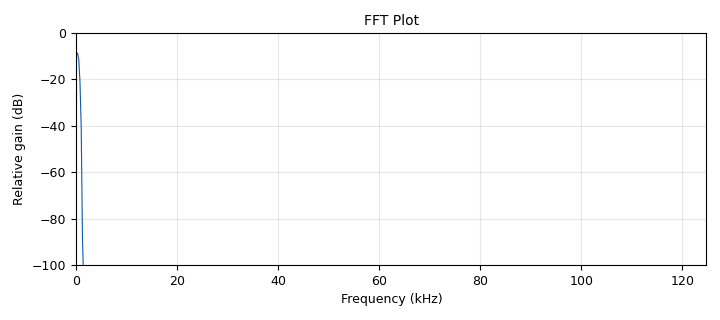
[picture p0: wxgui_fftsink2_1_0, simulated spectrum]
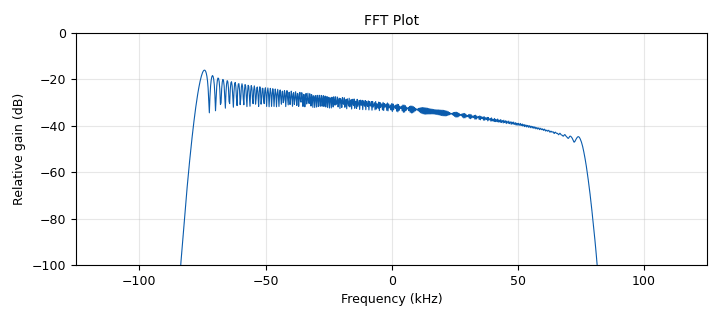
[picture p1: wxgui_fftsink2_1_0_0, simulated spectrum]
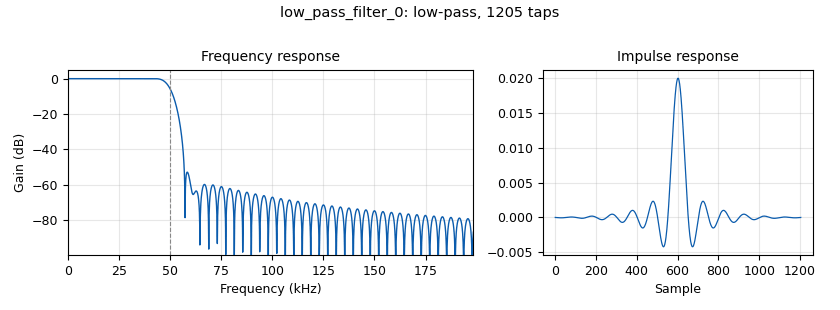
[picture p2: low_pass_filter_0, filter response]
<?xml version='1.0' encoding='utf-8'?>
<?grc format='1' created='3.7.9'?>
<flow_graph>
<block>
<key>options</key>
<param><key>id</key><value>FM_Example</value></param>
<param><key>generate_options</key><value>wx_gui</value></param>
</block>
<block>
<key>variable_text_box</key>
<param><key>id</key><value>RxGain</value></param>
<param><key>converver</key><value>float_converter</value></param>
<param><key>value</key><value>15</value></param>
<param><key>formatter</key><value>None</value></param>
<param><key>label</key><value></value></param>
</block>
<block>
<key>variable_slider</key>
<param><key>id</key><value>TxGain</value></param>
<param><key>converver</key><value>float_converter</value></param>
<param><key>value</key><value>0</value></param>
<param><key>label</key><value></value></param>
<param><key>max</key><value>80</value></param>
<param><key>min</key><value>0</value></param>
<param><key>num_steps</key><value>8</value></param>
<param><key>style</key><value>wx.SL_HORIZONTAL</value></param>
</block>
<block>
<key>variable_text_box</key>
<param><key>id</key><value>TxGain</value></param>
<param><key>converver</key><value>float_converter</value></param>
<param><key>value</key><value>1</value></param>
<param><key>_enabled</key><value>0</value></param>
<param><key>formatter</key><value>None</value></param>
<param><key>label</key><value></value></param>
</block>
<block>
<key>variable_text_box</key>
<param><key>id</key><value>freq</value></param>
<param><key>converver</key><value>float_converter</value></param>
<param><key>value</key><value>97.3e6</value></param>
<param><key>formatter</key><value>None</value></param>
<param><key>label</key><value></value></param>
</block>
<block>
<key>variable</key>
<param><key>id</key><value>samp_rate</value></param>
<param><key>value</key><value>5e6</value></param>
</block>
<block>
<key>analog_nbfm_rx</key>
<param><key>id</key><value>analog_nbfm_rx_0</value></param>
<param><key>audio_rate</key><value>250000</value></param>
<param><key>_enabled</key><value>0</value></param>
<param><key>max_dev</key><value>5e3</value></param>
<param><key>quad_rate</key><value>250000</value></param>
<param><key>tau</key><value>75e-6</value></param>
</block>
<block>
<key>analog_sig_source_x</key>
<param><key>id</key><value>analog_sig_source</value></param>
<param><key>amp</key><value>1</value></param>
<param><key>freq</key><value>279</value></param>
<param><key>offset</key><value>0</value></param>
<param><key>type</key><value>float</value></param>
<param><key>samp_rate</key><value>5e6</value></param>
<param><key>waveform</key><value>analog.GR_SIN_WAVE</value></param>
</block>
<block>
<key>analog_wfm_rcv</key>
<param><key>id</key><value>analog_wfm_rcv_0</value></param>
<param><key>audio_decimation</key><value>1</value></param>
<param><key>quad_rate</key><value>250e3</value></param>
</block>
<block>
<key>analog_wfm_tx</key>
<param><key>id</key><value>analog_wfm_tx_1</value></param>
<param><key>audio_rate</key><value>250000</value></param>
<param><key>max_dev</key><value>75e3</value></param>
<param><key>quad_rate</key><value>250000</value></param>
<param><key>tau</key><value>75e-6</value></param>
</block>
<block>
<key>audio_sink</key>
<param><key>id</key><value>audio_sink_0</value></param>
<param><key>samp_rate</key><value>96000</value></param>
</block>
<block>
<key>blocks_multiply_const_vxx</key>
<param><key>id</key><value>blocks_multiply_const_vxx_0_0</value></param>
<param><key>const</key><value>1</value></param>
<param><key>type</key><value>float</value></param>
</block>
<block>
<key>blocks_multiply_const_vxx</key>
<param><key>id</key><value>blocks_multiply_const_vxx_1_0</value></param>
<param><key>const</key><value>1</value></param>
<param><key>type</key><value>complex</value></param>
</block>
<block>
<key>low_pass_filter</key>
<param><key>id</key><value>low_pass_filter_0</value></param>
<param><key>cutoff_freq</key><value>50e3</value></param>
<param><key>decim</key><value>20</value></param>
<param><key>type</key><value>fir_filter_ccf</value></param>
<param><key>gain</key><value>1</value></param>
<param><key>samp_rate</key><value>samp_rate</value></param>
<param><key>width</key><value>10e3</value></param>
<param><key>win</key><value>firdes.WIN_HAMMING</value></param>
</block>
<block>
<key>notebook</key>
<param><key>id</key><value>notebook_0</value></param>
<param><key>labels</key><value>['tab1', 'tab2', 'tab3','tab4']</value></param>
<param><key>style</key><value>wx.NB_TOP</value></param>
</block>
<block>
<key>rational_resampler_xxx</key>
<param><key>id</key><value>rational_resampler_xxx_0</value></param>
<param><key>decim</key><value>250</value></param>
<param><key>interp</key><value>96</value></param>
<param><key>taps</key><value></value></param>
<param><key>type</key><value>fff</value></param>
</block>
<block>
<key>rational_resampler_xxx</key>
<param><key>id</key><value>rational_resampler_xxx_1_0</value></param>
<param><key>decim</key><value>20</value></param>
<param><key>interp</key><value>1</value></param>
<param><key>taps</key><value></value></param>
<param><key>type</key><value>fff</value></param>
</block>
<block>
<key>uhd_usrp_sink</key>
<param><key>id</key><value>uhd_usrp_sink_0_0</value></param>
<param><key>ant0</key><value>TX/RX</value></param>
<param><key>center_freq0</key><value>freq</value></param>
<param><key>norm_gain0</key><value>False</value></param>
<param><key>gain0</key><value>TxGain</value></param>
<param><key>clock_rate</key><value>0.0</value></param>
<param><key>dev_args</key><value>""</value></param>
<param><key>type</key><value>fc32</value></param>
<param><key>samp_rate</key><value>250e3</value></param>
<param><key>hide_cmd_port</key><value>False</value></param>
<param><key>sync</key><value></value></param>
<param><key>len_tag_name</key><value></value></param>
</block>
<block>
<key>uhd_usrp_source</key>
<param><key>id</key><value>uhd_usrp_source_0</value></param>
<param><key>ant0</key><value>RX2</value></param>
<param><key>bw0</key><value>300e3</value></param>
<param><key>center_freq0</key><value>freq</value></param>
<param><key>dc_offs_enb0</key><value>""</value></param>
<param><key>iq_imbal_enb0</key><value>""</value></param>
<param><key>norm_gain0</key><value>False</value></param>
<param><key>gain0</key><value>RxGain</value></param>
<param><key>clock_rate</key><value>0.0</value></param>
<param><key>dev_addr</key><value></value></param>
<param><key>dev_args</key><value>""</value></param>
<param><key>type</key><value>fc32</value></param>
<param><key>samp_rate</key><value>samp_rate</value></param>
<param><key>hide_cmd_port</key><value>False</value></param>
<param><key>sync</key><value></value></param>
</block>
<block>
<key>wxgui_fftsink2</key>
<param><key>id</key><value>wxgui_fftsink2_0</value></param>
<param><key>avg_alpha</key><value>0</value></param>
<param><key>average</key><value>False</value></param>
<param><key>baseband_freq</key><value>freq</value></param>
<param><key>fft_size</key><value>1024</value></param>
<param><key>freqvar</key><value>None</value></param>
<param><key>notebook</key><value>notebook_0,0</value></param>
<param><key>peak_hold</key><value>False</value></param>
<param><key>ref_level</key><value>0</value></param>
<param><key>ref_scale</key><value>2.0</value></param>
<param><key>fft_rate</key><value>15</value></param>
<param><key>samp_rate</key><value>samp_rate</value></param>
<param><key>title</key><value>FFT Plot</value></param>
<param><key>type</key><value>complex</value></param>
<param><key>win</key><value>None</value></param>
<param><key>y_divs</key><value>10</value></param>
<param><key>y_per_div</key><value>10</value></param>
</block>
<block>
<key>wxgui_fftsink2</key>
<param><key>id</key><value>wxgui_fftsink2_1</value></param>
<param><key>avg_alpha</key><value>0</value></param>
<param><key>average</key><value>False</value></param>
<param><key>baseband_freq</key><value>0</value></param>
<param><key>fft_size</key><value>1024</value></param>
<param><key>freqvar</key><value>None</value></param>
<param><key>notebook</key><value>notebook_0,1</value></param>
<param><key>peak_hold</key><value>False</value></param>
<param><key>ref_level</key><value>0</value></param>
<param><key>ref_scale</key><value>2.0</value></param>
<param><key>fft_rate</key><value>15</value></param>
<param><key>samp_rate</key><value>250e3</value></param>
<param><key>title</key><value>FFT Plot</value></param>
<param><key>type</key><value>float</value></param>
<param><key>win</key><value>None</value></param>
<param><key>y_divs</key><value>10</value></param>
<param><key>y_per_div</key><value>10</value></param>
</block>
<block>
<key>wxgui_fftsink2</key>
<param><key>id</key><value>wxgui_fftsink2_1_0</value></param>
<param><key>avg_alpha</key><value>0</value></param>
<param><key>average</key><value>False</value></param>
<param><key>baseband_freq</key><value>0</value></param>
<param><key>fft_size</key><value>1024</value></param>
<param><key>freqvar</key><value>None</value></param>
<param><key>notebook</key><value>notebook_0,2</value></param>
<param><key>peak_hold</key><value>False</value></param>
<param><key>ref_level</key><value>0</value></param>
<param><key>ref_scale</key><value>2.0</value></param>
<param><key>fft_rate</key><value>15</value></param>
<param><key>samp_rate</key><value>250e3</value></param>
<param><key>title</key><value>FFT Plot</value></param>
<param><key>type</key><value>float</value></param>
<param><key>win</key><value>None</value></param>
<param><key>y_divs</key><value>10</value></param>
<param><key>y_per_div</key><value>10</value></param>
</block>
<block>
<key>wxgui_fftsink2</key>
<param><key>id</key><value>wxgui_fftsink2_1_0_0</value></param>
<param><key>avg_alpha</key><value>0</value></param>
<param><key>average</key><value>False</value></param>
<param><key>baseband_freq</key><value>0</value></param>
<param><key>fft_size</key><value>1024</value></param>
<param><key>freqvar</key><value>None</value></param>
<param><key>notebook</key><value>notebook_0,3</value></param>
<param><key>peak_hold</key><value>False</value></param>
<param><key>ref_level</key><value>0</value></param>
<param><key>ref_scale</key><value>2.0</value></param>
<param><key>fft_rate</key><value>15</value></param>
<param><key>samp_rate</key><value>250e3</value></param>
<param><key>title</key><value>FFT Plot</value></param>
<param><key>type</key><value>complex</value></param>
<param><key>win</key><value>None</value></param>
<param><key>y_divs</key><value>10</value></param>
<param><key>y_per_div</key><value>10</value></param>
</block>
<connection><source_block_id>analog_nbfm_rx_0</source_block_id><sink_block_id>rational_resampler_xxx_0</sink_block_id><source_key>0</source_key><sink_key>0</sink_key></connection>
<connection><source_block_id>analog_nbfm_rx_0</source_block_id><sink_block_id>wxgui_fftsink2_1</sink_block_id><source_key>0</source_key><sink_key>0</sink_key></connection>
<connection><source_block_id>analog_sig_source</source_block_id><sink_block_id>blocks_multiply_const_vxx_0_0</sink_block_id><source_key>0</source_key><sink_key>0</sink_key></connection>
<connection><source_block_id>analog_wfm_rcv_0</source_block_id><sink_block_id>rational_resampler_xxx_0</sink_block_id><source_key>0</source_key><sink_key>0</sink_key></connection>
<connection><source_block_id>analog_wfm_rcv_0</source_block_id><sink_block_id>wxgui_fftsink2_1</sink_block_id><source_key>0</source_key><sink_key>0</sink_key></connection>
<connection><source_block_id>analog_wfm_tx_1</source_block_id><sink_block_id>blocks_multiply_const_vxx_1_0</sink_block_id><source_key>0</source_key><sink_key>0</sink_key></connection>
<connection><source_block_id>blocks_multiply_const_vxx_0_0</source_block_id><sink_block_id>rational_resampler_xxx_1_0</sink_block_id><source_key>0</source_key><sink_key>0</sink_key></connection>
<connection><source_block_id>blocks_multiply_const_vxx_1_0</source_block_id><sink_block_id>uhd_usrp_sink_0_0</sink_block_id><source_key>0</source_key><sink_key>0</sink_key></connection>
<connection><source_block_id>blocks_multiply_const_vxx_1_0</source_block_id><sink_block_id>wxgui_fftsink2_1_0_0</sink_block_id><source_key>0</source_key><sink_key>0</sink_key></connection>
<connection><source_block_id>low_pass_filter_0</source_block_id><sink_block_id>analog_nbfm_rx_0</sink_block_id><source_key>0</source_key><sink_key>0</sink_key></connection>
<connection><source_block_id>low_pass_filter_0</source_block_id><sink_block_id>analog_wfm_rcv_0</sink_block_id><source_key>0</source_key><sink_key>0</sink_key></connection>
<connection><source_block_id>rational_resampler_xxx_0</source_block_id><sink_block_id>audio_sink_0</sink_block_id><source_key>0</source_key><sink_key>0</sink_key></connection>
<connection><source_block_id>rational_resampler_xxx_1_0</source_block_id><sink_block_id>analog_wfm_tx_1</sink_block_id><source_key>0</source_key><sink_key>0</sink_key></connection>
<connection><source_block_id>rational_resampler_xxx_1_0</source_block_id><sink_block_id>wxgui_fftsink2_1_0</sink_block_id><source_key>0</source_key><sink_key>0</sink_key></connection>
<connection><source_block_id>uhd_usrp_source_0</source_block_id><sink_block_id>low_pass_filter_0</sink_block_id><source_key>0</source_key><sink_key>0</sink_key></connection>
<connection><source_block_id>uhd_usrp_source_0</source_block_id><sink_block_id>wxgui_fftsink2_0</sink_block_id><source_key>0</source_key><sink_key>0</sink_key></connection>
</flow_graph>
